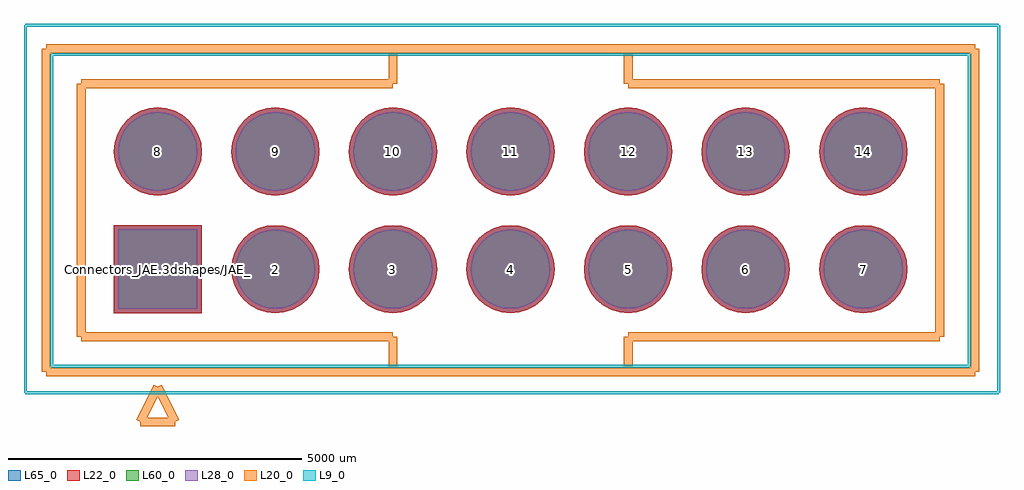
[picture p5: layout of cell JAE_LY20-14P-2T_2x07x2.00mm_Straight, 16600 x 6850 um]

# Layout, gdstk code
import gdstk
lib = gdstk.Library(unit=1e-6, precision=1e-09)
def R(c, l, rs):  # rectangles x0, y0, x1, y1
    for r in rs: c.add(gdstk.rectangle(r[:2], r[2:], *l))
def P(c, l, *ps):  # polygons
    for p in ps: c.add(gdstk.Polygon(p, *l))
L9_0 = (9, 0)
L20_0 = (20, 0)
L22_0 = (22, 0)
L28_0 = (28, 0)
L60_0 = (60, 0)
L65_0 = (65, 0)

jae_ly20_14p_2t_2x07x2_0 = lib.new_cell('JAE_LY20-14P-2T_2x07x2.00mm_Straight')
R(jae_ly20_14p_2t_2x07x2_0, L22_0, [(-750,-750,750,750)])
P(jae_ly20_14p_2t_2x07x2_0, L22_0, [(12750,2000),(12735.589,2146.318),(12692.91,2287.013),(12623.602,2416.678),(12530.33,2530.33),(12416.678,2623.602),(12287.013,2692.91),(12146.318,2735.589),(12000,2750),(11853.682,2735.589),(11712.987,2692.91),(11583.322,2623.602),(11469.67,2530.33),(11376.398,2416.678),(11307.09,2287.013),(11264.411,2146.318),(11250,2000),(11264.411,1853.682),(11307.09,1712.987),(11376.398,1583.322),(11469.67,1469.67),(11583.322,1376.398),(11712.987,1307.09),(11853.682,1264.411),(12000,1250),(12146.318,1264.411),(12287.013,1307.09),(12416.678,1376.398),(12530.33,1469.67),(12623.602,1583.322),(12692.91,1712.987),(12735.589,1853.682)],
  [(10750,2000),(10735.589,2146.318),(10692.91,2287.013),(10623.602,2416.678),(10530.33,2530.33),(10416.678,2623.602),(10287.013,2692.91),(10146.318,2735.589),(10000,2750),(9853.682,2735.589),(9712.987,2692.91),(9583.322,2623.602),(9469.67,2530.33),(9376.398,2416.678),(9307.09,2287.013),(9264.411,2146.318),(9250,2000),(9264.411,1853.682),(9307.09,1712.987),(9376.398,1583.322),(9469.67,1469.67),(9583.322,1376.398),(9712.987,1307.09),(9853.682,1264.411),(10000,1250),(10146.318,1264.411),(10287.013,1307.09),(10416.678,1376.398),(10530.33,1469.67),(10623.602,1583.322),(10692.91,1712.987),(10735.589,1853.682)],
  [(8750,2000),(8735.589,2146.318),(8692.91,2287.013),(8623.602,2416.678),(8530.33,2530.33),(8416.678,2623.602),(8287.013,2692.91),(8146.318,2735.589),(8000,2750),(7853.682,2735.589),(7712.987,2692.91),(7583.322,2623.602),(7469.67,2530.33),(7376.398,2416.678),(7307.09,2287.013),(7264.411,2146.318),(7250,2000),(7264.411,1853.682),(7307.09,1712.987),(7376.398,1583.322),(7469.67,1469.67),(7583.322,1376.398),(7712.987,1307.09),(7853.682,1264.411),(8000,1250),(8146.318,1264.411),(8287.013,1307.09),(8416.678,1376.398),(8530.33,1469.67),(8623.602,1583.322),(8692.91,1712.987),(8735.589,1853.682)],
  [(6750,2000),(6735.589,2146.318),(6692.91,2287.013),(6623.602,2416.678),(6530.33,2530.33),(6416.678,2623.602),(6287.013,2692.91),(6146.318,2735.589),(6000,2750),(5853.682,2735.589),(5712.987,2692.91),(5583.322,2623.602),(5469.67,2530.33),(5376.398,2416.678),(5307.09,2287.013),(5264.411,2146.318),(5250,2000),(5264.411,1853.682),(5307.09,1712.987),(5376.398,1583.322),(5469.67,1469.67),(5583.322,1376.398),(5712.987,1307.09),(5853.682,1264.411),(6000,1250),(6146.318,1264.411),(6287.013,1307.09),(6416.678,1376.398),(6530.33,1469.67),(6623.602,1583.322),(6692.91,1712.987),(6735.589,1853.682)],
  [(4750,2000),(4735.589,2146.318),(4692.91,2287.013),(4623.602,2416.678),(4530.33,2530.33),(4416.678,2623.602),(4287.013,2692.91),(4146.318,2735.589),(4000,2750),(3853.682,2735.589),(3712.987,2692.91),(3583.322,2623.602),(3469.67,2530.33),(3376.398,2416.678),(3307.09,2287.013),(3264.411,2146.318),(3250,2000),(3264.411,1853.682),(3307.09,1712.987),(3376.398,1583.322),(3469.67,1469.67),(3583.322,1376.398),(3712.987,1307.09),(3853.682,1264.411),(4000,1250),(4146.318,1264.411),(4287.013,1307.09),(4416.678,1376.398),(4530.33,1469.67),(4623.602,1583.322),(4692.91,1712.987),(4735.589,1853.682)],
  [(2750,2000),(2735.589,2146.318),(2692.91,2287.013),(2623.602,2416.678),(2530.33,2530.33),(2416.678,2623.602),(2287.013,2692.91),(2146.318,2735.589),(2000,2750),(1853.682,2735.589),(1712.987,2692.91),(1583.322,2623.602),(1469.67,2530.33),(1376.398,2416.678),(1307.09,2287.013),(1264.411,2146.318),(1250,2000),(1264.411,1853.682),(1307.09,1712.987),(1376.398,1583.322),(1469.67,1469.67),(1583.322,1376.398),(1712.987,1307.09),(1853.682,1264.411),(2000,1250),(2146.318,1264.411),(2287.013,1307.09),(2416.678,1376.398),(2530.33,1469.67),(2623.602,1583.322),(2692.91,1712.987),(2735.589,1853.682)],
  [(750,2000),(735.589,2146.318),(692.91,2287.013),(623.602,2416.678),(530.33,2530.33),(416.678,2623.602),(287.013,2692.91),(146.318,2735.589),(0,2750),(-146.318,2735.589),(-287.013,2692.91),(-416.678,2623.602),(-530.33,2530.33),(-623.602,2416.678),(-692.91,2287.013),(-735.589,2146.318),(-750,2000),(-735.589,1853.682),(-692.91,1712.987),(-623.602,1583.322),(-530.33,1469.67),(-416.678,1376.398),(-287.013,1307.09),(-146.318,1264.411),(0,1250),(146.318,1264.411),(287.013,1307.09),(416.678,1376.398),(530.33,1469.67),(623.602,1583.322),(692.91,1712.987),(735.589,1853.682)],
  [(12750,0),(12735.589,146.318),(12692.91,287.013),(12623.602,416.678),(12530.33,530.33),(12416.678,623.602),(12287.013,692.91),(12146.318,735.589),(12000,750),(11853.682,735.589),(11712.987,692.91),(11583.322,623.602),(11469.67,530.33),(11376.398,416.678),(11307.09,287.013),(11264.411,146.318),(11250,0),(11264.411,-146.318),(11307.09,-287.013),(11376.398,-416.678),(11469.67,-530.33),(11583.322,-623.602),(11712.987,-692.91),(11853.682,-735.589),(12000,-750),(12146.318,-735.589),(12287.013,-692.91),(12416.678,-623.602),(12530.33,-530.33),(12623.602,-416.678),(12692.91,-287.013),(12735.589,-146.318)],
  [(10750,0),(10735.589,146.318),(10692.91,287.013),(10623.602,416.678),(10530.33,530.33),(10416.678,623.602),(10287.013,692.91),(10146.318,735.589),(10000,750),(9853.682,735.589),(9712.987,692.91),(9583.322,623.602),(9469.67,530.33),(9376.398,416.678),(9307.09,287.013),(9264.411,146.318),(9250,0),(9264.411,-146.318),(9307.09,-287.013),(9376.398,-416.678),(9469.67,-530.33),(9583.322,-623.602),(9712.987,-692.91),(9853.682,-735.589),(10000,-750),(10146.318,-735.589),(10287.013,-692.91),(10416.678,-623.602),(10530.33,-530.33),(10623.602,-416.678),(10692.91,-287.013),(10735.589,-146.318)],
  [(8750,0),(8735.589,146.318),(8692.91,287.013),(8623.602,416.678),(8530.33,530.33),(8416.678,623.602),(8287.013,692.91),(8146.318,735.589),(8000,750),(7853.682,735.589),(7712.987,692.91),(7583.322,623.602),(7469.67,530.33),(7376.398,416.678),(7307.09,287.013),(7264.411,146.318),(7250,0),(7264.411,-146.318),(7307.09,-287.013),(7376.398,-416.678),(7469.67,-530.33),(7583.322,-623.602),(7712.987,-692.91),(7853.682,-735.589),(8000,-750),(8146.318,-735.589),(8287.013,-692.91),(8416.678,-623.602),(8530.33,-530.33),(8623.602,-416.678),(8692.91,-287.013),(8735.589,-146.318)],
  [(6750,0),(6735.589,146.318),(6692.91,287.013),(6623.602,416.678),(6530.33,530.33),(6416.678,623.602),(6287.013,692.91),(6146.318,735.589),(6000,750),(5853.682,735.589),(5712.987,692.91),(5583.322,623.602),(5469.67,530.33),(5376.398,416.678),(5307.09,287.013),(5264.411,146.318),(5250,0),(5264.411,-146.318),(5307.09,-287.013),(5376.398,-416.678),(5469.67,-530.33),(5583.322,-623.602),(5712.987,-692.91),(5853.682,-735.589),(6000,-750),(6146.318,-735.589),(6287.013,-692.91),(6416.678,-623.602),(6530.33,-530.33),(6623.602,-416.678),(6692.91,-287.013),(6735.589,-146.318)],
  [(4750,0),(4735.589,146.318),(4692.91,287.013),(4623.602,416.678),(4530.33,530.33),(4416.678,623.602),(4287.013,692.91),(4146.318,735.589),(4000,750),(3853.682,735.589),(3712.987,692.91),(3583.322,623.602),(3469.67,530.33),(3376.398,416.678),(3307.09,287.013),(3264.411,146.318),(3250,0),(3264.411,-146.318),(3307.09,-287.013),(3376.398,-416.678),(3469.67,-530.33),(3583.322,-623.602),(3712.987,-692.91),(3853.682,-735.589),(4000,-750),(4146.318,-735.589),(4287.013,-692.91),(4416.678,-623.602),(4530.33,-530.33),(4623.602,-416.678),(4692.91,-287.013),(4735.589,-146.318)],
  [(2750,0),(2735.589,146.318),(2692.91,287.013),(2623.602,416.678),(2530.33,530.33),(2416.678,623.602),(2287.013,692.91),(2146.318,735.589),(2000,750),(1853.682,735.589),(1712.987,692.91),(1583.322,623.602),(1469.67,530.33),(1376.398,416.678),(1307.09,287.013),(1264.411,146.318),(1250,0),(1264.411,-146.318),(1307.09,-287.013),(1376.398,-416.678),(1469.67,-530.33),(1583.322,-623.602),(1712.987,-692.91),(1853.682,-735.589),(2000,-750),(2146.318,-735.589),(2287.013,-692.91),(2416.678,-623.602),(2530.33,-530.33),(2623.602,-416.678),(2692.91,-287.013),(2735.589,-146.318)])
R(jae_ly20_14p_2t_2x07x2_0, L28_0, [(-675,-675,675,675)])
P(jae_ly20_14p_2t_2x07x2_0, L28_0, [(12675,2000),(12662.03,2131.686),(12623.619,2258.311),(12561.242,2375.01),(12477.297,2477.297),(12375.01,2561.242),(12258.311,2623.619),(12131.686,2662.03),(12000,2675),(11868.314,2662.03),(11741.689,2623.619),(11624.99,2561.242),(11522.703,2477.297),(11438.758,2375.01),(11376.381,2258.311),(11337.97,2131.686),(11325,2000),(11337.97,1868.314),(11376.381,1741.689),(11438.758,1624.99),(11522.703,1522.703),(11624.99,1438.758),(11741.689,1376.381),(11868.314,1337.97),(12000,1325),(12131.686,1337.97),(12258.311,1376.381),(12375.01,1438.758),(12477.297,1522.703),(12561.242,1624.99),(12623.619,1741.689),(12662.03,1868.314)],
  [(10675,2000),(10662.03,2131.686),(10623.619,2258.311),(10561.242,2375.01),(10477.297,2477.297),(10375.01,2561.242),(10258.311,2623.619),(10131.686,2662.03),(10000,2675),(9868.314,2662.03),(9741.689,2623.619),(9624.99,2561.242),(9522.703,2477.297),(9438.758,2375.01),(9376.381,2258.311),(9337.97,2131.686),(9325,2000),(9337.97,1868.314),(9376.381,1741.689),(9438.758,1624.99),(9522.703,1522.703),(9624.99,1438.758),(9741.689,1376.381),(9868.314,1337.97),(10000,1325),(10131.686,1337.97),(10258.311,1376.381),(10375.01,1438.758),(10477.297,1522.703),(10561.242,1624.99),(10623.619,1741.689),(10662.03,1868.314)],
  [(8675,2000),(8662.03,2131.686),(8623.619,2258.311),(8561.242,2375.01),(8477.297,2477.297),(8375.01,2561.242),(8258.311,2623.619),(8131.686,2662.03),(8000,2675),(7868.314,2662.03),(7741.689,2623.619),(7624.99,2561.242),(7522.703,2477.297),(7438.758,2375.01),(7376.381,2258.311),(7337.97,2131.686),(7325,2000),(7337.97,1868.314),(7376.381,1741.689),(7438.758,1624.99),(7522.703,1522.703),(7624.99,1438.758),(7741.689,1376.381),(7868.314,1337.97),(8000,1325),(8131.686,1337.97),(8258.311,1376.381),(8375.01,1438.758),(8477.297,1522.703),(8561.242,1624.99),(8623.619,1741.689),(8662.03,1868.314)],
  [(6675,2000),(6662.03,2131.686),(6623.619,2258.311),(6561.242,2375.01),(6477.297,2477.297),(6375.01,2561.242),(6258.311,2623.619),(6131.686,2662.03),(6000,2675),(5868.314,2662.03),(5741.689,2623.619),(5624.99,2561.242),(5522.703,2477.297),(5438.758,2375.01),(5376.381,2258.311),(5337.97,2131.686),(5325,2000),(5337.97,1868.314),(5376.381,1741.689),(5438.758,1624.99),(5522.703,1522.703),(5624.99,1438.758),(5741.689,1376.381),(5868.314,1337.97),(6000,1325),(6131.686,1337.97),(6258.311,1376.381),(6375.01,1438.758),(6477.297,1522.703),(6561.242,1624.99),(6623.619,1741.689),(6662.03,1868.314)],
  [(4675,2000),(4662.03,2131.686),(4623.619,2258.311),(4561.242,2375.01),(4477.297,2477.297),(4375.01,2561.242),(4258.311,2623.619),(4131.686,2662.03),(4000,2675),(3868.314,2662.03),(3741.689,2623.619),(3624.99,2561.242),(3522.703,2477.297),(3438.758,2375.01),(3376.381,2258.311),(3337.97,2131.686),(3325,2000),(3337.97,1868.314),(3376.381,1741.689),(3438.758,1624.99),(3522.703,1522.703),(3624.99,1438.758),(3741.689,1376.381),(3868.314,1337.97),(4000,1325),(4131.686,1337.97),(4258.311,1376.381),(4375.01,1438.758),(4477.297,1522.703),(4561.242,1624.99),(4623.619,1741.689),(4662.03,1868.314)],
  [(2675,2000),(2662.03,2131.686),(2623.619,2258.311),(2561.242,2375.01),(2477.297,2477.297),(2375.01,2561.242),(2258.311,2623.619),(2131.686,2662.03),(2000,2675),(1868.314,2662.03),(1741.689,2623.619),(1624.99,2561.242),(1522.703,2477.297),(1438.758,2375.01),(1376.381,2258.311),(1337.97,2131.686),(1325,2000),(1337.97,1868.314),(1376.381,1741.689),(1438.758,1624.99),(1522.703,1522.703),(1624.99,1438.758),(1741.689,1376.381),(1868.314,1337.97),(2000,1325),(2131.686,1337.97),(2258.311,1376.381),(2375.01,1438.758),(2477.297,1522.703),(2561.242,1624.99),(2623.619,1741.689),(2662.03,1868.314)],
  [(675,2000),(662.03,2131.686),(623.619,2258.311),(561.242,2375.01),(477.297,2477.297),(375.01,2561.242),(258.311,2623.619),(131.686,2662.03),(0,2675),(-131.686,2662.03),(-258.311,2623.619),(-375.01,2561.242),(-477.297,2477.297),(-561.242,2375.01),(-623.619,2258.311),(-662.03,2131.686),(-675,2000),(-662.03,1868.314),(-623.619,1741.689),(-561.242,1624.99),(-477.297,1522.703),(-375.01,1438.758),(-258.311,1376.381),(-131.686,1337.97),(0,1325),(131.686,1337.97),(258.311,1376.381),(375.01,1438.758),(477.297,1522.703),(561.242,1624.99),(623.619,1741.689),(662.03,1868.314)],
  [(12675,0),(12662.03,131.686),(12623.619,258.311),(12561.242,375.01),(12477.297,477.297),(12375.01,561.242),(12258.311,623.619),(12131.686,662.03),(12000,675),(11868.314,662.03),(11741.689,623.619),(11624.99,561.242),(11522.703,477.297),(11438.758,375.01),(11376.381,258.311),(11337.97,131.686),(11325,0),(11337.97,-131.686),(11376.381,-258.311),(11438.758,-375.01),(11522.703,-477.297),(11624.99,-561.242),(11741.689,-623.619),(11868.314,-662.03),(12000,-675),(12131.686,-662.03),(12258.311,-623.619),(12375.01,-561.242),(12477.297,-477.297),(12561.242,-375.01),(12623.619,-258.311),(12662.03,-131.686)],
  [(10675,0),(10662.03,131.686),(10623.619,258.311),(10561.242,375.01),(10477.297,477.297),(10375.01,561.242),(10258.311,623.619),(10131.686,662.03),(10000,675),(9868.314,662.03),(9741.689,623.619),(9624.99,561.242),(9522.703,477.297),(9438.758,375.01),(9376.381,258.311),(9337.97,131.686),(9325,0),(9337.97,-131.686),(9376.381,-258.311),(9438.758,-375.01),(9522.703,-477.297),(9624.99,-561.242),(9741.689,-623.619),(9868.314,-662.03),(10000,-675),(10131.686,-662.03),(10258.311,-623.619),(10375.01,-561.242),(10477.297,-477.297),(10561.242,-375.01),(10623.619,-258.311),(10662.03,-131.686)],
  [(8675,0),(8662.03,131.686),(8623.619,258.311),(8561.242,375.01),(8477.297,477.297),(8375.01,561.242),(8258.311,623.619),(8131.686,662.03),(8000,675),(7868.314,662.03),(7741.689,623.619),(7624.99,561.242),(7522.703,477.297),(7438.758,375.01),(7376.381,258.311),(7337.97,131.686),(7325,0),(7337.97,-131.686),(7376.381,-258.311),(7438.758,-375.01),(7522.703,-477.297),(7624.99,-561.242),(7741.689,-623.619),(7868.314,-662.03),(8000,-675),(8131.686,-662.03),(8258.311,-623.619),(8375.01,-561.242),(8477.297,-477.297),(8561.242,-375.01),(8623.619,-258.311),(8662.03,-131.686)],
  [(6675,0),(6662.03,131.686),(6623.619,258.311),(6561.242,375.01),(6477.297,477.297),(6375.01,561.242),(6258.311,623.619),(6131.686,662.03),(6000,675),(5868.314,662.03),(5741.689,623.619),(5624.99,561.242),(5522.703,477.297),(5438.758,375.01),(5376.381,258.311),(5337.97,131.686),(5325,0),(5337.97,-131.686),(5376.381,-258.311),(5438.758,-375.01),(5522.703,-477.297),(5624.99,-561.242),(5741.689,-623.619),(5868.314,-662.03),(6000,-675),(6131.686,-662.03),(6258.311,-623.619),(6375.01,-561.242),(6477.297,-477.297),(6561.242,-375.01),(6623.619,-258.311),(6662.03,-131.686)],
  [(4675,0),(4662.03,131.686),(4623.619,258.311),(4561.242,375.01),(4477.297,477.297),(4375.01,561.242),(4258.311,623.619),(4131.686,662.03),(4000,675),(3868.314,662.03),(3741.689,623.619),(3624.99,561.242),(3522.703,477.297),(3438.758,375.01),(3376.381,258.311),(3337.97,131.686),(3325,0),(3337.97,-131.686),(3376.381,-258.311),(3438.758,-375.01),(3522.703,-477.297),(3624.99,-561.242),(3741.689,-623.619),(3868.314,-662.03),(4000,-675),(4131.686,-662.03),(4258.311,-623.619),(4375.01,-561.242),(4477.297,-477.297),(4561.242,-375.01),(4623.619,-258.311),(4662.03,-131.686)],
  [(2675,0),(2662.03,131.686),(2623.619,258.311),(2561.242,375.01),(2477.297,477.297),(2375.01,561.242),(2258.311,623.619),(2131.686,662.03),(2000,675),(1868.314,662.03),(1741.689,623.619),(1624.99,561.242),(1522.703,477.297),(1438.758,375.01),(1376.381,258.311),(1337.97,131.686),(1325,0),(1337.97,-131.686),(1376.381,-258.311),(1438.758,-375.01),(1522.703,-477.297),(1624.99,-561.242),(1741.689,-623.619),(1868.314,-662.03),(2000,-675),(2131.686,-662.03),(2258.311,-623.619),(2375.01,-561.242),(2477.297,-477.297),(2561.242,-375.01),(2623.619,-258.311),(2662.03,-131.686)])
R(jae_ly20_14p_2t_2x07x2_0, L60_0, [(-675,-675,675,675)])
P(jae_ly20_14p_2t_2x07x2_0, L60_0, [(12675,2000),(12662.03,2131.686),(12623.619,2258.311),(12561.242,2375.01),(12477.297,2477.297),(12375.01,2561.242),(12258.311,2623.619),(12131.686,2662.03),(12000,2675),(11868.314,2662.03),(11741.689,2623.619),(11624.99,2561.242),(11522.703,2477.297),(11438.758,2375.01),(11376.381,2258.311),(11337.97,2131.686),(11325,2000),(11337.97,1868.314),(11376.381,1741.689),(11438.758,1624.99),(11522.703,1522.703),(11624.99,1438.758),(11741.689,1376.381),(11868.314,1337.97),(12000,1325),(12131.686,1337.97),(12258.311,1376.381),(12375.01,1438.758),(12477.297,1522.703),(12561.242,1624.99),(12623.619,1741.689),(12662.03,1868.314)],
  [(10675,2000),(10662.03,2131.686),(10623.619,2258.311),(10561.242,2375.01),(10477.297,2477.297),(10375.01,2561.242),(10258.311,2623.619),(10131.686,2662.03),(10000,2675),(9868.314,2662.03),(9741.689,2623.619),(9624.99,2561.242),(9522.703,2477.297),(9438.758,2375.01),(9376.381,2258.311),(9337.97,2131.686),(9325,2000),(9337.97,1868.314),(9376.381,1741.689),(9438.758,1624.99),(9522.703,1522.703),(9624.99,1438.758),(9741.689,1376.381),(9868.314,1337.97),(10000,1325),(10131.686,1337.97),(10258.311,1376.381),(10375.01,1438.758),(10477.297,1522.703),(10561.242,1624.99),(10623.619,1741.689),(10662.03,1868.314)],
  [(8675,2000),(8662.03,2131.686),(8623.619,2258.311),(8561.242,2375.01),(8477.297,2477.297),(8375.01,2561.242),(8258.311,2623.619),(8131.686,2662.03),(8000,2675),(7868.314,2662.03),(7741.689,2623.619),(7624.99,2561.242),(7522.703,2477.297),(7438.758,2375.01),(7376.381,2258.311),(7337.97,2131.686),(7325,2000),(7337.97,1868.314),(7376.381,1741.689),(7438.758,1624.99),(7522.703,1522.703),(7624.99,1438.758),(7741.689,1376.381),(7868.314,1337.97),(8000,1325),(8131.686,1337.97),(8258.311,1376.381),(8375.01,1438.758),(8477.297,1522.703),(8561.242,1624.99),(8623.619,1741.689),(8662.03,1868.314)],
  [(6675,2000),(6662.03,2131.686),(6623.619,2258.311),(6561.242,2375.01),(6477.297,2477.297),(6375.01,2561.242),(6258.311,2623.619),(6131.686,2662.03),(6000,2675),(5868.314,2662.03),(5741.689,2623.619),(5624.99,2561.242),(5522.703,2477.297),(5438.758,2375.01),(5376.381,2258.311),(5337.97,2131.686),(5325,2000),(5337.97,1868.314),(5376.381,1741.689),(5438.758,1624.99),(5522.703,1522.703),(5624.99,1438.758),(5741.689,1376.381),(5868.314,1337.97),(6000,1325),(6131.686,1337.97),(6258.311,1376.381),(6375.01,1438.758),(6477.297,1522.703),(6561.242,1624.99),(6623.619,1741.689),(6662.03,1868.314)],
  [(4675,2000),(4662.03,2131.686),(4623.619,2258.311),(4561.242,2375.01),(4477.297,2477.297),(4375.01,2561.242),(4258.311,2623.619),(4131.686,2662.03),(4000,2675),(3868.314,2662.03),(3741.689,2623.619),(3624.99,2561.242),(3522.703,2477.297),(3438.758,2375.01),(3376.381,2258.311),(3337.97,2131.686),(3325,2000),(3337.97,1868.314),(3376.381,1741.689),(3438.758,1624.99),(3522.703,1522.703),(3624.99,1438.758),(3741.689,1376.381),(3868.314,1337.97),(4000,1325),(4131.686,1337.97),(4258.311,1376.381),(4375.01,1438.758),(4477.297,1522.703),(4561.242,1624.99),(4623.619,1741.689),(4662.03,1868.314)],
  [(2675,2000),(2662.03,2131.686),(2623.619,2258.311),(2561.242,2375.01),(2477.297,2477.297),(2375.01,2561.242),(2258.311,2623.619),(2131.686,2662.03),(2000,2675),(1868.314,2662.03),(1741.689,2623.619),(1624.99,2561.242),(1522.703,2477.297),(1438.758,2375.01),(1376.381,2258.311),(1337.97,2131.686),(1325,2000),(1337.97,1868.314),(1376.381,1741.689),(1438.758,1624.99),(1522.703,1522.703),(1624.99,1438.758),(1741.689,1376.381),(1868.314,1337.97),(2000,1325),(2131.686,1337.97),(2258.311,1376.381),(2375.01,1438.758),(2477.297,1522.703),(2561.242,1624.99),(2623.619,1741.689),(2662.03,1868.314)],
  [(675,2000),(662.03,2131.686),(623.619,2258.311),(561.242,2375.01),(477.297,2477.297),(375.01,2561.242),(258.311,2623.619),(131.686,2662.03),(0,2675),(-131.686,2662.03),(-258.311,2623.619),(-375.01,2561.242),(-477.297,2477.297),(-561.242,2375.01),(-623.619,2258.311),(-662.03,2131.686),(-675,2000),(-662.03,1868.314),(-623.619,1741.689),(-561.242,1624.99),(-477.297,1522.703),(-375.01,1438.758),(-258.311,1376.381),(-131.686,1337.97),(0,1325),(131.686,1337.97),(258.311,1376.381),(375.01,1438.758),(477.297,1522.703),(561.242,1624.99),(623.619,1741.689),(662.03,1868.314)],
  [(12675,0),(12662.03,131.686),(12623.619,258.311),(12561.242,375.01),(12477.297,477.297),(12375.01,561.242),(12258.311,623.619),(12131.686,662.03),(12000,675),(11868.314,662.03),(11741.689,623.619),(11624.99,561.242),(11522.703,477.297),(11438.758,375.01),(11376.381,258.311),(11337.97,131.686),(11325,0),(11337.97,-131.686),(11376.381,-258.311),(11438.758,-375.01),(11522.703,-477.297),(11624.99,-561.242),(11741.689,-623.619),(11868.314,-662.03),(12000,-675),(12131.686,-662.03),(12258.311,-623.619),(12375.01,-561.242),(12477.297,-477.297),(12561.242,-375.01),(12623.619,-258.311),(12662.03,-131.686)],
  [(10675,0),(10662.03,131.686),(10623.619,258.311),(10561.242,375.01),(10477.297,477.297),(10375.01,561.242),(10258.311,623.619),(10131.686,662.03),(10000,675),(9868.314,662.03),(9741.689,623.619),(9624.99,561.242),(9522.703,477.297),(9438.758,375.01),(9376.381,258.311),(9337.97,131.686),(9325,0),(9337.97,-131.686),(9376.381,-258.311),(9438.758,-375.01),(9522.703,-477.297),(9624.99,-561.242),(9741.689,-623.619),(9868.314,-662.03),(10000,-675),(10131.686,-662.03),(10258.311,-623.619),(10375.01,-561.242),(10477.297,-477.297),(10561.242,-375.01),(10623.619,-258.311),(10662.03,-131.686)],
  [(8675,0),(8662.03,131.686),(8623.619,258.311),(8561.242,375.01),(8477.297,477.297),(8375.01,561.242),(8258.311,623.619),(8131.686,662.03),(8000,675),(7868.314,662.03),(7741.689,623.619),(7624.99,561.242),(7522.703,477.297),(7438.758,375.01),(7376.381,258.311),(7337.97,131.686),(7325,0),(7337.97,-131.686),(7376.381,-258.311),(7438.758,-375.01),(7522.703,-477.297),(7624.99,-561.242),(7741.689,-623.619),(7868.314,-662.03),(8000,-675),(8131.686,-662.03),(8258.311,-623.619),(8375.01,-561.242),(8477.297,-477.297),(8561.242,-375.01),(8623.619,-258.311),(8662.03,-131.686)],
  [(6675,0),(6662.03,131.686),(6623.619,258.311),(6561.242,375.01),(6477.297,477.297),(6375.01,561.242),(6258.311,623.619),(6131.686,662.03),(6000,675),(5868.314,662.03),(5741.689,623.619),(5624.99,561.242),(5522.703,477.297),(5438.758,375.01),(5376.381,258.311),(5337.97,131.686),(5325,0),(5337.97,-131.686),(5376.381,-258.311),(5438.758,-375.01),(5522.703,-477.297),(5624.99,-561.242),(5741.689,-623.619),(5868.314,-662.03),(6000,-675),(6131.686,-662.03),(6258.311,-623.619),(6375.01,-561.242),(6477.297,-477.297),(6561.242,-375.01),(6623.619,-258.311),(6662.03,-131.686)],
  [(4675,0),(4662.03,131.686),(4623.619,258.311),(4561.242,375.01),(4477.297,477.297),(4375.01,561.242),(4258.311,623.619),(4131.686,662.03),(4000,675),(3868.314,662.03),(3741.689,623.619),(3624.99,561.242),(3522.703,477.297),(3438.758,375.01),(3376.381,258.311),(3337.97,131.686),(3325,0),(3337.97,-131.686),(3376.381,-258.311),(3438.758,-375.01),(3522.703,-477.297),(3624.99,-561.242),(3741.689,-623.619),(3868.314,-662.03),(4000,-675),(4131.686,-662.03),(4258.311,-623.619),(4375.01,-561.242),(4477.297,-477.297),(4561.242,-375.01),(4623.619,-258.311),(4662.03,-131.686)],
  [(2675,0),(2662.03,131.686),(2623.619,258.311),(2561.242,375.01),(2477.297,477.297),(2375.01,561.242),(2258.311,623.619),(2131.686,662.03),(2000,675),(1868.314,662.03),(1741.689,623.619),(1624.99,561.242),(1522.703,477.297),(1438.758,375.01),(1376.381,258.311),(1337.97,131.686),(1325,0),(1337.97,-131.686),(1376.381,-258.311),(1438.758,-375.01),(1522.703,-477.297),(1624.99,-561.242),(1741.689,-623.619),(1868.314,-662.03),(2000,-675),(2131.686,-662.03),(2258.311,-623.619),(2375.01,-561.242),(2477.297,-477.297),(2561.242,-375.01),(2623.619,-258.311),(2662.03,-131.686)])
R(jae_ly20_14p_2t_2x07x2_0, L65_0, [(-750,-750,750,750)])
P(jae_ly20_14p_2t_2x07x2_0, L65_0, [(12750,2000),(12735.589,2146.318),(12692.91,2287.013),(12623.602,2416.678),(12530.33,2530.33),(12416.678,2623.602),(12287.013,2692.91),(12146.318,2735.589),(12000,2750),(11853.682,2735.589),(11712.987,2692.91),(11583.322,2623.602),(11469.67,2530.33),(11376.398,2416.678),(11307.09,2287.013),(11264.411,2146.318),(11250,2000),(11264.411,1853.682),(11307.09,1712.987),(11376.398,1583.322),(11469.67,1469.67),(11583.322,1376.398),(11712.987,1307.09),(11853.682,1264.411),(12000,1250),(12146.318,1264.411),(12287.013,1307.09),(12416.678,1376.398),(12530.33,1469.67),(12623.602,1583.322),(12692.91,1712.987),(12735.589,1853.682)],
  [(10750,2000),(10735.589,2146.318),(10692.91,2287.013),(10623.602,2416.678),(10530.33,2530.33),(10416.678,2623.602),(10287.013,2692.91),(10146.318,2735.589),(10000,2750),(9853.682,2735.589),(9712.987,2692.91),(9583.322,2623.602),(9469.67,2530.33),(9376.398,2416.678),(9307.09,2287.013),(9264.411,2146.318),(9250,2000),(9264.411,1853.682),(9307.09,1712.987),(9376.398,1583.322),(9469.67,1469.67),(9583.322,1376.398),(9712.987,1307.09),(9853.682,1264.411),(10000,1250),(10146.318,1264.411),(10287.013,1307.09),(10416.678,1376.398),(10530.33,1469.67),(10623.602,1583.322),(10692.91,1712.987),(10735.589,1853.682)],
  [(8750,2000),(8735.589,2146.318),(8692.91,2287.013),(8623.602,2416.678),(8530.33,2530.33),(8416.678,2623.602),(8287.013,2692.91),(8146.318,2735.589),(8000,2750),(7853.682,2735.589),(7712.987,2692.91),(7583.322,2623.602),(7469.67,2530.33),(7376.398,2416.678),(7307.09,2287.013),(7264.411,2146.318),(7250,2000),(7264.411,1853.682),(7307.09,1712.987),(7376.398,1583.322),(7469.67,1469.67),(7583.322,1376.398),(7712.987,1307.09),(7853.682,1264.411),(8000,1250),(8146.318,1264.411),(8287.013,1307.09),(8416.678,1376.398),(8530.33,1469.67),(8623.602,1583.322),(8692.91,1712.987),(8735.589,1853.682)],
  [(6750,2000),(6735.589,2146.318),(6692.91,2287.013),(6623.602,2416.678),(6530.33,2530.33),(6416.678,2623.602),(6287.013,2692.91),(6146.318,2735.589),(6000,2750),(5853.682,2735.589),(5712.987,2692.91),(5583.322,2623.602),(5469.67,2530.33),(5376.398,2416.678),(5307.09,2287.013),(5264.411,2146.318),(5250,2000),(5264.411,1853.682),(5307.09,1712.987),(5376.398,1583.322),(5469.67,1469.67),(5583.322,1376.398),(5712.987,1307.09),(5853.682,1264.411),(6000,1250),(6146.318,1264.411),(6287.013,1307.09),(6416.678,1376.398),(6530.33,1469.67),(6623.602,1583.322),(6692.91,1712.987),(6735.589,1853.682)],
  [(4750,2000),(4735.589,2146.318),(4692.91,2287.013),(4623.602,2416.678),(4530.33,2530.33),(4416.678,2623.602),(4287.013,2692.91),(4146.318,2735.589),(4000,2750),(3853.682,2735.589),(3712.987,2692.91),(3583.322,2623.602),(3469.67,2530.33),(3376.398,2416.678),(3307.09,2287.013),(3264.411,2146.318),(3250,2000),(3264.411,1853.682),(3307.09,1712.987),(3376.398,1583.322),(3469.67,1469.67),(3583.322,1376.398),(3712.987,1307.09),(3853.682,1264.411),(4000,1250),(4146.318,1264.411),(4287.013,1307.09),(4416.678,1376.398),(4530.33,1469.67),(4623.602,1583.322),(4692.91,1712.987),(4735.589,1853.682)],
  [(2750,2000),(2735.589,2146.318),(2692.91,2287.013),(2623.602,2416.678),(2530.33,2530.33),(2416.678,2623.602),(2287.013,2692.91),(2146.318,2735.589),(2000,2750),(1853.682,2735.589),(1712.987,2692.91),(1583.322,2623.602),(1469.67,2530.33),(1376.398,2416.678),(1307.09,2287.013),(1264.411,2146.318),(1250,2000),(1264.411,1853.682),(1307.09,1712.987),(1376.398,1583.322),(1469.67,1469.67),(1583.322,1376.398),(1712.987,1307.09),(1853.682,1264.411),(2000,1250),(2146.318,1264.411),(2287.013,1307.09),(2416.678,1376.398),(2530.33,1469.67),(2623.602,1583.322),(2692.91,1712.987),(2735.589,1853.682)],
  [(750,2000),(735.589,2146.318),(692.91,2287.013),(623.602,2416.678),(530.33,2530.33),(416.678,2623.602),(287.013,2692.91),(146.318,2735.589),(0,2750),(-146.318,2735.589),(-287.013,2692.91),(-416.678,2623.602),(-530.33,2530.33),(-623.602,2416.678),(-692.91,2287.013),(-735.589,2146.318),(-750,2000),(-735.589,1853.682),(-692.91,1712.987),(-623.602,1583.322),(-530.33,1469.67),(-416.678,1376.398),(-287.013,1307.09),(-146.318,1264.411),(0,1250),(146.318,1264.411),(287.013,1307.09),(416.678,1376.398),(530.33,1469.67),(623.602,1583.322),(692.91,1712.987),(735.589,1853.682)],
  [(12750,0),(12735.589,146.318),(12692.91,287.013),(12623.602,416.678),(12530.33,530.33),(12416.678,623.602),(12287.013,692.91),(12146.318,735.589),(12000,750),(11853.682,735.589),(11712.987,692.91),(11583.322,623.602),(11469.67,530.33),(11376.398,416.678),(11307.09,287.013),(11264.411,146.318),(11250,0),(11264.411,-146.318),(11307.09,-287.013),(11376.398,-416.678),(11469.67,-530.33),(11583.322,-623.602),(11712.987,-692.91),(11853.682,-735.589),(12000,-750),(12146.318,-735.589),(12287.013,-692.91),(12416.678,-623.602),(12530.33,-530.33),(12623.602,-416.678),(12692.91,-287.013),(12735.589,-146.318)],
  [(10750,0),(10735.589,146.318),(10692.91,287.013),(10623.602,416.678),(10530.33,530.33),(10416.678,623.602),(10287.013,692.91),(10146.318,735.589),(10000,750),(9853.682,735.589),(9712.987,692.91),(9583.322,623.602),(9469.67,530.33),(9376.398,416.678),(9307.09,287.013),(9264.411,146.318),(9250,0),(9264.411,-146.318),(9307.09,-287.013),(9376.398,-416.678),(9469.67,-530.33),(9583.322,-623.602),(9712.987,-692.91),(9853.682,-735.589),(10000,-750),(10146.318,-735.589),(10287.013,-692.91),(10416.678,-623.602),(10530.33,-530.33),(10623.602,-416.678),(10692.91,-287.013),(10735.589,-146.318)],
  [(8750,0),(8735.589,146.318),(8692.91,287.013),(8623.602,416.678),(8530.33,530.33),(8416.678,623.602),(8287.013,692.91),(8146.318,735.589),(8000,750),(7853.682,735.589),(7712.987,692.91),(7583.322,623.602),(7469.67,530.33),(7376.398,416.678),(7307.09,287.013),(7264.411,146.318),(7250,0),(7264.411,-146.318),(7307.09,-287.013),(7376.398,-416.678),(7469.67,-530.33),(7583.322,-623.602),(7712.987,-692.91),(7853.682,-735.589),(8000,-750),(8146.318,-735.589),(8287.013,-692.91),(8416.678,-623.602),(8530.33,-530.33),(8623.602,-416.678),(8692.91,-287.013),(8735.589,-146.318)],
  [(6750,0),(6735.589,146.318),(6692.91,287.013),(6623.602,416.678),(6530.33,530.33),(6416.678,623.602),(6287.013,692.91),(6146.318,735.589),(6000,750),(5853.682,735.589),(5712.987,692.91),(5583.322,623.602),(5469.67,530.33),(5376.398,416.678),(5307.09,287.013),(5264.411,146.318),(5250,0),(5264.411,-146.318),(5307.09,-287.013),(5376.398,-416.678),(5469.67,-530.33),(5583.322,-623.602),(5712.987,-692.91),(5853.682,-735.589),(6000,-750),(6146.318,-735.589),(6287.013,-692.91),(6416.678,-623.602),(6530.33,-530.33),(6623.602,-416.678),(6692.91,-287.013),(6735.589,-146.318)],
  [(4750,0),(4735.589,146.318),(4692.91,287.013),(4623.602,416.678),(4530.33,530.33),(4416.678,623.602),(4287.013,692.91),(4146.318,735.589),(4000,750),(3853.682,735.589),(3712.987,692.91),(3583.322,623.602),(3469.67,530.33),(3376.398,416.678),(3307.09,287.013),(3264.411,146.318),(3250,0),(3264.411,-146.318),(3307.09,-287.013),(3376.398,-416.678),(3469.67,-530.33),(3583.322,-623.602),(3712.987,-692.91),(3853.682,-735.589),(4000,-750),(4146.318,-735.589),(4287.013,-692.91),(4416.678,-623.602),(4530.33,-530.33),(4623.602,-416.678),(4692.91,-287.013),(4735.589,-146.318)],
  [(2750,0),(2735.589,146.318),(2692.91,287.013),(2623.602,416.678),(2530.33,530.33),(2416.678,623.602),(2287.013,692.91),(2146.318,735.589),(2000,750),(1853.682,735.589),(1712.987,692.91),(1583.322,623.602),(1469.67,530.33),(1376.398,416.678),(1307.09,287.013),(1264.411,146.318),(1250,0),(1264.411,-146.318),(1307.09,-287.013),(1376.398,-416.678),(1469.67,-530.33),(1583.322,-623.602),(1712.987,-692.91),(1853.682,-735.589),(2000,-750),(2146.318,-735.589),(2287.013,-692.91),(2416.678,-623.602),(2530.33,-530.33),(2623.602,-416.678),(2692.91,-287.013),(2735.589,-146.318)])
jae_ly20_14p_2t_2x07x2_0.add(gdstk.FlexPath([(300,-2600),(0,-2000)], 149.998, ends="flush", simple_path=True, layer=20, datatype=0))  # L20_0
jae_ly20_14p_2t_2x07x2_0.add(gdstk.FlexPath([(-300,-2600),(300,-2600)], 149.998, ends="flush", simple_path=True, layer=20, datatype=0))  # L20_0
jae_ly20_14p_2t_2x07x2_0.add(gdstk.FlexPath([(0,-2000),(-300,-2600)], 149.998, ends="flush", simple_path=True, layer=20, datatype=0))  # L20_0
jae_ly20_14p_2t_2x07x2_0.add(gdstk.FlexPath([(8000,3150),(8000,3650)], 149.998, ends="flush", simple_path=True, layer=20, datatype=0))  # L20_0
jae_ly20_14p_2t_2x07x2_0.add(gdstk.FlexPath([(13300,3150),(8000,3150)], 149.998, ends="flush", simple_path=True, layer=20, datatype=0))  # L20_0
jae_ly20_14p_2t_2x07x2_0.add(gdstk.FlexPath([(13300,-1150),(13300,3150)], 149.998, ends="flush", simple_path=True, layer=20, datatype=0))  # L20_0
jae_ly20_14p_2t_2x07x2_0.add(gdstk.FlexPath([(8000,-1150),(13300,-1150)], 149.998, ends="flush", simple_path=True, layer=20, datatype=0))  # L20_0
jae_ly20_14p_2t_2x07x2_0.add(gdstk.FlexPath([(8000,-1650),(8000,-1150)], 149.998, ends="flush", simple_path=True, layer=20, datatype=0))  # L20_0
jae_ly20_14p_2t_2x07x2_0.add(gdstk.FlexPath([(4000,3150),(4000,3650)], 149.998, ends="flush", simple_path=True, layer=20, datatype=0))  # L20_0
jae_ly20_14p_2t_2x07x2_0.add(gdstk.FlexPath([(-1300,3150),(4000,3150)], 149.998, ends="flush", simple_path=True, layer=20, datatype=0))  # L20_0
jae_ly20_14p_2t_2x07x2_0.add(gdstk.FlexPath([(-1300,-1150),(-1300,3150)], 149.998, ends="flush", simple_path=True, layer=20, datatype=0))  # L20_0
jae_ly20_14p_2t_2x07x2_0.add(gdstk.FlexPath([(4000,-1150),(-1300,-1150)], 149.998, ends="flush", simple_path=True, layer=20, datatype=0))  # L20_0
jae_ly20_14p_2t_2x07x2_0.add(gdstk.FlexPath([(4000,-1650),(4000,-1150)], 149.998, ends="flush", simple_path=True, layer=20, datatype=0))  # L20_0
jae_ly20_14p_2t_2x07x2_0.add(gdstk.FlexPath([(13900,3750),(-1900,3750)], 149.998, ends="flush", simple_path=True, layer=20, datatype=0))  # L20_0
jae_ly20_14p_2t_2x07x2_0.add(gdstk.FlexPath([(13900,-1750),(13900,3750)], 149.998, ends="flush", simple_path=True, layer=20, datatype=0))  # L20_0
jae_ly20_14p_2t_2x07x2_0.add(gdstk.FlexPath([(-1900,-1750),(13900,-1750)], 149.998, ends="flush", simple_path=True, layer=20, datatype=0))  # L20_0
jae_ly20_14p_2t_2x07x2_0.add(gdstk.FlexPath([(-1900,3750),(-1900,-1750)], 149.998, ends="flush", simple_path=True, layer=20, datatype=0))  # L20_0
jae_ly20_14p_2t_2x07x2_0.add(gdstk.FlexPath([(14300,4150),(-2250,4150)], 50, ends="flush", simple_path=True, layer=9, datatype=0))  # L9_0
jae_ly20_14p_2t_2x07x2_0.add(gdstk.FlexPath([(14300,-2100),(14300,4150)], 50, ends="flush", simple_path=True, layer=9, datatype=0))  # L9_0
jae_ly20_14p_2t_2x07x2_0.add(gdstk.FlexPath([(-2250,-2100),(14300,-2100)], 50, ends="flush", simple_path=True, layer=9, datatype=0))  # L9_0
jae_ly20_14p_2t_2x07x2_0.add(gdstk.FlexPath([(-2250,4150),(-2250,-2100)], 50, ends="flush", simple_path=True, layer=9, datatype=0))  # L9_0
jae_ly20_14p_2t_2x07x2_0.add(gdstk.FlexPath([(13800,3650),(-1800,3650)], 50, ends="flush", simple_path=True, layer=9, datatype=0))  # L9_0
jae_ly20_14p_2t_2x07x2_0.add(gdstk.FlexPath([(13800,-1650),(13800,3650)], 50, ends="flush", simple_path=True, layer=9, datatype=0))  # L9_0
jae_ly20_14p_2t_2x07x2_0.add(gdstk.FlexPath([(-1800,-1650),(13800,-1650)], 50, ends="flush", simple_path=True, layer=9, datatype=0))  # L9_0
jae_ly20_14p_2t_2x07x2_0.add(gdstk.FlexPath([(-1800,3650),(-1800,-1650)], 50, ends="flush", simple_path=True, layer=9, datatype=0))  # L9_0
jae_ly20_14p_2t_2x07x2_0.add(gdstk.Label('Connectors_JAE.3dshapes/JAE_LY20-14P-2T_2x07x2.00mm_Straight.wrl', (0,0), layer=12, texttype=0))
jae_ly20_14p_2t_2x07x2_0.add(gdstk.Label('14', (12000,2000), layer=28, texttype=0))
jae_ly20_14p_2t_2x07x2_0.add(gdstk.Label('13', (10000,2000), layer=28, texttype=0))
jae_ly20_14p_2t_2x07x2_0.add(gdstk.Label('12', (8000,2000), layer=28, texttype=0))
jae_ly20_14p_2t_2x07x2_0.add(gdstk.Label('11', (6000,2000), layer=28, texttype=0))
jae_ly20_14p_2t_2x07x2_0.add(gdstk.Label('10', (4000,2000), layer=28, texttype=0))
jae_ly20_14p_2t_2x07x2_0.add(gdstk.Label('9', (2000,2000), layer=28, texttype=0))
jae_ly20_14p_2t_2x07x2_0.add(gdstk.Label('8', (0,2000), layer=28, texttype=0))
jae_ly20_14p_2t_2x07x2_0.add(gdstk.Label('7', (12000,0), layer=28, texttype=0))
jae_ly20_14p_2t_2x07x2_0.add(gdstk.Label('6', (10000,0), layer=28, texttype=0))
jae_ly20_14p_2t_2x07x2_0.add(gdstk.Label('5', (8000,0), layer=28, texttype=0))
jae_ly20_14p_2t_2x07x2_0.add(gdstk.Label('4', (6000,0), layer=28, texttype=0))
jae_ly20_14p_2t_2x07x2_0.add(gdstk.Label('3', (4000,0), layer=28, texttype=0))
jae_ly20_14p_2t_2x07x2_0.add(gdstk.Label('2', (2000,0), layer=28, texttype=0))
jae_ly20_14p_2t_2x07x2_0.add(gdstk.Label('1', (0,0), layer=28, texttype=0))
jae_ly20_14p_2t_2x07x2_0.add(gdstk.Label('type', (6000,-3500), layer=9, texttype=0))
jae_ly20_14p_2t_2x07x2_0.add(gdstk.Label('devicename', (6000,5000), layer=9, texttype=0))

lib.write_gds('JAE_LY20-14P-2T_2x07x2.00mm_Straight.gds')
